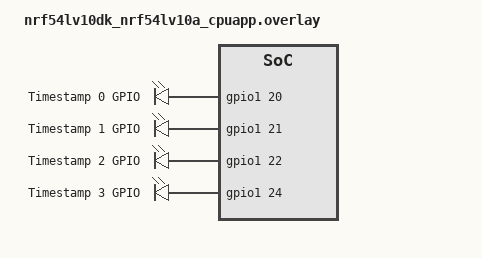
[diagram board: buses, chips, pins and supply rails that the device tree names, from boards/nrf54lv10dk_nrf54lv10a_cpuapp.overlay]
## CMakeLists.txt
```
#
# Copyright (c) 2025 Nordic Semiconductor
#
# SPDX-License-Identifier: LicenseRef-Nordic-5-Clause
#

cmake_minimum_required(VERSION 3.20.0)

find_package(Zephyr REQUIRED HINTS $ENV{ZEPHYR_BASE})
project(NONE)

FILE(GLOB app_sources src/*.c)
# NORDIC SDK APP START
target_sources(app  PRIVATE ${app_sources})
# NORDIC SDK APP END
```

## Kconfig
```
#
# Copyright (c) 2025 Nordic Semiconductor
#
# SPDX-License-Identifier: LicenseRef-Nordic-5-Clause
#

source "Kconfig.zephyr"
```

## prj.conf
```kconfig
#
# Copyright (c) 2019 Nordic Semiconductor ASA
#
# SPDX-License-Identifier: LicenseRef-Nordic-5-Clause
#
CONFIG_NCS_SAMPLES_DEFAULTS=n

CONFIG_USE_DT_CODE_PARTITION=y

CONFIG_GPIO=y

CONFIG_MPU_ALLOW_FLASH_WRITE=y
CONFIG_FLASH=y
CONFIG_FLASH_MAP=y
CONFIG_FLASH_PAGE_LAYOUT=y

CONFIG_ZMS=y

CONFIG_SOC_FLASH_NRF_THROTTLING=y
#throttling delay in us, data block size in 128-bit words
CONFIG_NRF_RRAM_THROTTLING_DELAY=2000
CONFIG_NRF_RRAM_THROTTLING_DATA_BLOCK=16

CONFIG_LOG=n
CONFIG_CONSOLE=n
CONFIG_UART_CONSOLE=n
CONFIG_SERIAL=n
CONFIG_PRINTK=n
```

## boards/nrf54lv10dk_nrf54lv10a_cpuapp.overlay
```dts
/*
 * Copyright (c) 2025 Nordic Semiconductor ASA
 *
 * SPDX-License-Identifier: LicenseRef-Nordic-5-Clause
 */

/ {
	chosen {
		zephyr,code-partition = &app_code_partition;
	};

	timestamps {
		compatible = "gpio-leds";
		timestamp0: timestamp_0 {
			gpios = < &gpio1 20 GPIO_ACTIVE_HIGH >;
			label = "Timestamp 0 GPIO";
		};

		timestamp1: timestamp_1 {
			gpios = < &gpio1 21 GPIO_ACTIVE_HIGH >;
			label = "Timestamp 1 GPIO";
		};

		timestamp2: timestamp_2 {
			gpios = < &gpio1 22 GPIO_ACTIVE_HIGH >;
			label = "Timestamp 2 GPIO";
		};

		timestamp3: timestamp_3 {
			gpios = < &gpio1 24 GPIO_ACTIVE_HIGH >;
			label = "Timestamp 3 GPIO";
		};
	};

	aliases {
		timestamp0 = &timestamp0;
		timestamp1 = &timestamp1;
		timestamp2 = &timestamp2;
		timestamp3 = &timestamp3;
	};
};

&cpuapp_rram {
	/delete-node/ partitions;

	partitions {
		compatible = "fixed-partitions";
		#address-cells = <1>;
		#size-cells = <1>;

		app_code_partition: partition@0 {
			label = "code";
			reg = <0x0 DT_SIZE_K(892)>;
		};

		raw_flash_partition: partition@df000 {
			label = "raw_flash";
			reg = <0xdf000 DT_SIZE_K(20)>;
		};

		raw_zms_partition: partition@e4000 {
			label = "raw_zms";
			reg = <0xe4000 DT_SIZE_K(20)>;
		};

	};
};
```

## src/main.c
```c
/*
 * Copyright (c) 2025 Nordic Semiconductor ASA
 *
 * SPDX-License-Identifier: LicenseRef-Nordic-5-Clause
 */

#include <stdbool.h>

#include <zephyr/kernel.h>
#include <zephyr/device.h>

#include <zephyr/fs/zms.h>
#include <zephyr/storage/flash_map.h>

#include <zephyr/drivers/gpio.h>

/* Timestamp GPIO */

static uint64_t uptime_us(void)
{
	uint64_t cycles = k_cycle_get_64();
	return (uint64_t)k_cyc_to_us_near64(cycles);
}

static const struct gpio_dt_spec timestamp0 = GPIO_DT_SPEC_GET(DT_ALIAS(timestamp0), gpios);
static const struct gpio_dt_spec timestamp1 = GPIO_DT_SPEC_GET(DT_ALIAS(timestamp1), gpios);
static const struct gpio_dt_spec timestamp2 = GPIO_DT_SPEC_GET(DT_ALIAS(timestamp2), gpios);
static const struct gpio_dt_spec timestamp3 = GPIO_DT_SPEC_GET(DT_ALIAS(timestamp3), gpios);

static int timestamp_init_gpio(const struct gpio_dt_spec *gpio) {
	int ret;

	if (!device_is_ready(gpio->port)) {
		printk("Cannot initialize \"%s\"!\n", gpio->port->name);
		return -ENODEV;
	}

	ret = gpio_pin_configure_dt(gpio, GPIO_OUTPUT_ACTIVE);
	if (ret != 0) {
		printk("Cannot initialize timestamp GPIO \"%s\" (ret %d)!\n", gpio->port->name, ret);
		return ret;
	}

	ret = gpio_pin_set_dt(gpio, 0);
	if (ret != 0) {
		printk("Cannot set timestamp GPIO \"%s\" (ret %d)!\n", gpio->port->name, ret);
		return ret;
	}

	return 0;
}

static int timestamp_init(void)
{
	int ret;

	ret = timestamp_init_gpio(&timestamp0);
	if (ret != 0) {
		printk("Cannot initialize timestamp0 GPIO %d!\n", ret);
		return ret;
	}

	ret = timestamp_init_gpio(&timestamp1);
	if (ret != 0) {
		printk("Cannot initialize timestamp1 GPIO %d!\n", ret);
		return ret;
	}

	ret = timestamp_init_gpio(&timestamp2);
	if (ret != 0) {
		printk("Cannot initialize timestamp2 GPIO %d!\n", ret);
		return ret;
	}

	ret = timestamp_init_gpio(&timestamp3);
	if (ret != 0) {
		printk("Cannot initialize timestamp3 GPIO %d!\n", ret);
		return ret;
	}

	return 0;
}

static void timestamp_set_gpio(const struct gpio_dt_spec *gpio, bool set)
{
	int ret = gpio_pin_set_dt(gpio, set ? 1 : 0);
	if (ret != 0) {
		printk("Cannot set timestamp GPIO \"%s\" (ret %d)!\n", gpio->port->name, ret);
	}
}

static void timestamp0_set(bool set)
{
	static uint64_t timestamp;

	if (set) {
		timestamp = uptime_us();
		timestamp_set_gpio(&timestamp0, true);
	} else {
		timestamp_set_gpio(&timestamp0, false);
		printk("Timestamp0: %lld\n", (uptime_us() - timestamp));
		timestamp = 0;
	}
}

static void timestamp1_set(bool set)
{
	static uint64_t timestamp;

	if (set) {
		timestamp = uptime_us();
		timestamp_set_gpio(&timestamp1, true);
	} else {
		timestamp_set_gpio(&timestamp1, false);
		printk("Timestamp1: %lld\n", (uptime_us() - timestamp));
		timestamp = 0;
	}
}

static void timestamp2_set(bool set)
{
	static uint64_t timestamp;

	if (set) {
		timestamp = uptime_us();
		timestamp_set_gpio(&timestamp2, true);
	} else {
		timestamp_set_gpio(&timestamp2, false);
		printk("Timestamp2: %lld\n", (uptime_us() - timestamp));
		timestamp = 0;
	}
}

static void timestamp3_set(bool set)
{
	static uint64_t timestamp;

	if (set) {
		timestamp = uptime_us();
		timestamp_set_gpio(&timestamp3, true);
	}
	else {
		timestamp_set_gpio(&timestamp3, false);
		printk("Timestamp3: %lld\n", (uptime_us() - timestamp));
		timestamp = 0;
	}
}

/* Raw flash using flash area API */
#define RAW_FLASH_PARTITION_ID DT_FIXED_PARTITION_ID(DT_NODELABEL(raw_flash_partition))

static int write_flash_area(const uint8_t *data, size_t len)
{
	const struct flash_area *fa;
	int err;

	err = flash_area_open(RAW_FLASH_PARTITION_ID, &fa);
	if (err) {
		printk("Unable to open flash area: %d\n", err);
		return err;
	}

	/* Optional: Erase before write if required by use-case
	 * Here we assume user manages erasure as needed.
	 */

	timestamp0_set(true);
	err = flash_area_write(fa, 0, data, len);
	timestamp0_set(false);
	if (err) {
		printk("Failed to write flash area: %d\n", err);
		flash_area_close(fa);
		return err;
	}

	flash_area_close(fa);
	return 0;
}

static int read_flash_area(uint8_t *data, size_t len)
{
	const struct flash_area *fa;
	int err;

	err = flash_area_open(RAW_FLASH_PARTITION_ID, &fa);
	if (err) {
		printk("Unable to open flash area: %d\n", err);
		return err;
	}

	timestamp1_set(true);
	err = flash_area_read(fa, 0, data, len);
	timestamp1_set(false);
	if (err) {
		printk("Failed to read flash area: %d\n", err);
		flash_area_close(fa);
		return err;
	}

	flash_area_close(fa);
	return 0;
}

static int erase_flash_area(int flash_area_id)
{
	const struct flash_area *fa;
	int err;

	err = flash_area_open(flash_area_id, &fa);
	if (err) {
		printk("Unable to open flash area for erase: %d\n", err);
		return err;
	}

	timestamp2_set(true);
	err = flash_area_erase(fa, 0, fa->fa_size);
	timestamp2_set(false);
	if (err) {
		printk("Failed to erase flash area: %d\n", err);
		flash_area_close(fa);
		return err;
	}

	flash_area_close(fa);
	return 0;
}


/* ZMS filesystem */
#define RAM_ZMS_NODE raw_zms_partition
#define RAW_ZMS_PARTITION_ID DT_FIXED_PARTITION_ID(DT_NODELABEL(RAM_ZMS_NODE))
#define RAW_ZMS_DEVICE FIXED_PARTITION_DEVICE(RAM_ZMS_NODE)
#define RAW_ZMS_STORAGE_OFFSET FIXED_PARTITION_OFFSET(RAM_ZMS_NODE)
#define RAW_ZMS_SECTOR_SIZE  (DT_PROP(DT_CHOSEN(zephyr_flash), erase_block_size))
#define RAW_ZMS_SECTOR_COUNT 2

static struct zms_fs zms_fs = {
	.flash_device = RAW_ZMS_DEVICE,
	.offset = RAW_ZMS_STORAGE_OFFSET,
	.sector_size = RAW_ZMS_SECTOR_SIZE,
	.sector_count = RAW_ZMS_SECTOR_COUNT,
};

#define ZMS_ENTRY_DATA_ID 1

static int write_zms_entry(const uint8_t *data, size_t len)
{
	int ret;

	timestamp0_set(true);
	ret = zms_write(&zms_fs, ZMS_ENTRY_DATA_ID, data, len);
	timestamp0_set(false);
	if (ret != len) {
		printk("Cannot write ZMS entry %d!\n", ret);
		return ret;
	}

	return 0;
}

static int read_zms_entry(uint8_t *data, size_t len)
{
	int ret;

	timestamp1_set(true);
	ret = zms_read(&zms_fs, ZMS_ENTRY_DATA_ID, data, len);
	timestamp1_set(false);
	if (ret != len) {
		printk("Cannot read ZMS entry %d!\n", ret);
		return ret;
	}

	return 0;
}

static int init(void)
{
	int err;

	err = timestamp_init();
	if (err) {
		printk("Cannot initialize timestamp GPIO %d!\n", err);
		return err;
	}

	printk("Erasing flash areas\n");

	err = erase_flash_area(RAW_FLASH_PARTITION_ID);
	if (err) {
		printk("Cannot erase flash area %d!\n", err);
		return err;
	}

	err = erase_flash_area(RAW_ZMS_PARTITION_ID);
	if (err) {
		printk("Cannot erase flash area %d!\n", err);
		return err;
	}

	printk("Initializing ZMS filesystem\n");

	err = zms_mount(&zms_fs);
	if (err) {
		printk("Cannot initialize ZMS filesystem %d!\n", err);
		return err;
	}

	printk("ZMS filesystem initialized\n");

	return err;
}

#define FLASH_BUF_SIZE 1024

static uint8_t flash_buf[FLASH_BUF_SIZE];
static uint8_t verify_buf[FLASH_BUF_SIZE];

static void fill_flash_buf(void)
{
	for (size_t i = 0; i < FLASH_BUF_SIZE; i++) {
		flash_buf[i] = i;
	}
}

int main(void)
{
	int err;

	k_sleep(K_SECONDS(5));

	printk("Starting RRAM Throttling Benchmark\n");

	timestamp3_set(true);

	err = init();
	if (err) {
		printk("Cannot initialize board %d!\n", err);
		return err;
	}

	k_sleep(K_SECONDS(2));

	printk("=== Starting flash area benchmark ===\n");

	printk("Filling flash buffer\n");
	fill_flash_buf();

	printk("Writing flash area\n");
	write_flash_area(flash_buf, FLASH_BUF_SIZE);

	memset(verify_buf, 0, FLASH_BUF_SIZE);
	printk("Reading flash area\n");
	read_flash_area(verify_buf, FLASH_BUF_SIZE);

	printk("Verifying flash area\n");
	if (memcmp(flash_buf, verify_buf, FLASH_BUF_SIZE)) {
		printk("Flash area read not match\n");
	} else {
		printk("Flash area read match\n");
	}

	printk("=== Ending flash area benchmark ===\n");

	k_sleep(K_SECONDS(2));

	printk("=== Starting ZMS benchmark ===\n");

	printk("Writing ZMS entry\n");
	write_zms_entry(flash_buf, FLASH_BUF_SIZE);

	memset(verify_buf, 0, FLASH_BUF_SIZE);
	printk("Reading ZMS entry\n");
	read_zms_entry(verify_buf, FLASH_BUF_SIZE);

	printk("Verifying ZMS entry\n");
	if (memcmp(flash_buf, verify_buf, FLASH_BUF_SIZE)) {
		printk("ZMS entry read not match\n");
	} else {
		printk("ZMS entry read match\n");
	}

	printk("=== Ending ZMS benchmark ===\n");

	timestamp3_set(false);

	return 0;
}
```
